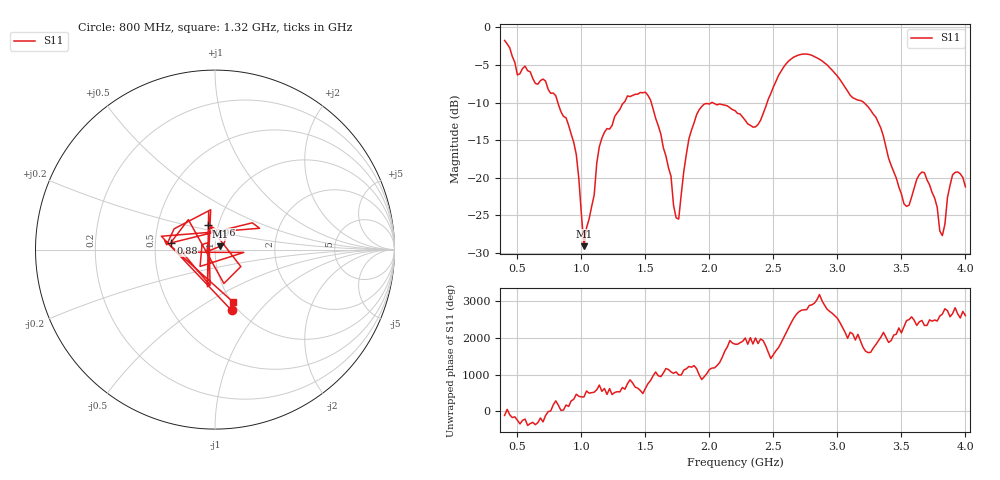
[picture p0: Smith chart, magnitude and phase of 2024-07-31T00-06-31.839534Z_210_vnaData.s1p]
!Created with skrf (http://scikit-rf.org).
# Hz S RI R 50.0
!freq ReS11 ImS11
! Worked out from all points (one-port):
!   181 points, 400 MHz to 4 GHz, reference 50 ohm
!   lowest |S11| = -29.1 dB at 1.02 GHz (marker M1), VSWR 1.07, Z = 53 + j1.97 ohm
!   |S11| at or under -10 dB: 815.9 MHz to 1.332 GHz (515.7 MHz wide, 48 % of centre); 1.546 GHz to 2.017 GHz (470.8 MHz wide, 26.4 % of centre); 3.207 GHz to end of sweep (the widest 3 of 4)
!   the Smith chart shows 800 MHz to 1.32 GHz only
!   S11 on the Smith chart (normalised r, x): 800 MHz: 0.93, -0.72; 880 MHz: 0.60, +0.05; 960 MHz: 0.90, +0.25; 1.32 GHz: 1.01, -0.65
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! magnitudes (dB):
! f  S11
! 400 MHz  -1.7
! 500 MHz  -6.3
! 560 MHz  -5.2
! 800 MHz  -9.1
! 860 MHz  -11.8
! 880 MHz  -12.0
! 960 MHz  -16.9
! 1.02 GHz  -29.1
! 1.1 GHz  -22.3
! 1.14 GHz  -15.9
! 1.3 GHz  -10.9
! 1.32 GHz  -10.2
! 1.54 GHz  -9.7
! 1.76 GHz  -25.5
! 1.84 GHz  -14.8
! 1.92 GHz  -10.9
! 2.2 GHz  -11.1
! 2.36 GHz  -13.2
! 2.66 GHz  -3.9
! 2.88 GHz  -4.5
! 3.1 GHz  -9.0
! 3.3 GHz  -11.9
! 3.52 GHz  -23.5
! 3.56 GHz  -23.6
! 3.68 GHz  -19.3
! 3.82 GHz  -27.7
! 3.9 GHz  -19.6
! 4 GHz  -21.2
